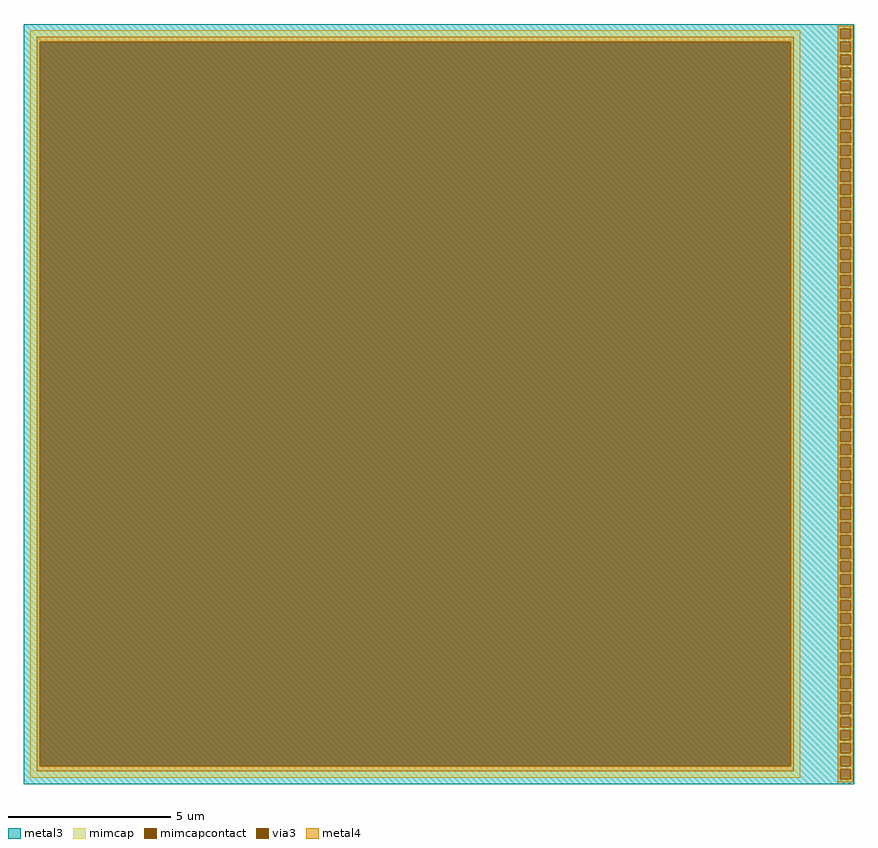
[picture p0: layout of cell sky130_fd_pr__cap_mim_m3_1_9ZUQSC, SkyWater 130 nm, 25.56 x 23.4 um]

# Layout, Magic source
magic
tech sky130A
magscale 1 2
<< metal3 >>
rect -2556 2312 2556 2340
rect -2556 2248 2472 2312
rect 2536 2248 2556 2312
rect -2556 2232 2556 2248
rect -2556 2168 2472 2232
rect 2536 2168 2556 2232
rect -2556 2152 2556 2168
rect -2556 2088 2472 2152
rect 2536 2088 2556 2152
rect -2556 2072 2556 2088
rect -2556 2008 2472 2072
rect 2536 2008 2556 2072
rect -2556 1992 2556 2008
rect -2556 1928 2472 1992
rect 2536 1928 2556 1992
rect -2556 1912 2556 1928
rect -2556 1848 2472 1912
rect 2536 1848 2556 1912
rect -2556 1832 2556 1848
rect -2556 1768 2472 1832
rect 2536 1768 2556 1832
rect -2556 1752 2556 1768
rect -2556 1688 2472 1752
rect 2536 1688 2556 1752
rect -2556 1672 2556 1688
rect -2556 1608 2472 1672
rect 2536 1608 2556 1672
rect -2556 1592 2556 1608
rect -2556 1528 2472 1592
rect 2536 1528 2556 1592
rect -2556 1512 2556 1528
rect -2556 1448 2472 1512
rect 2536 1448 2556 1512
rect -2556 1432 2556 1448
rect -2556 1368 2472 1432
rect 2536 1368 2556 1432
rect -2556 1352 2556 1368
rect -2556 1288 2472 1352
rect 2536 1288 2556 1352
rect -2556 1272 2556 1288
rect -2556 1208 2472 1272
rect 2536 1208 2556 1272
rect -2556 1192 2556 1208
rect -2556 1128 2472 1192
rect 2536 1128 2556 1192
rect -2556 1112 2556 1128
rect -2556 1048 2472 1112
rect 2536 1048 2556 1112
rect -2556 1032 2556 1048
rect -2556 968 2472 1032
rect 2536 968 2556 1032
rect -2556 952 2556 968
rect -2556 888 2472 952
rect 2536 888 2556 952
rect -2556 872 2556 888
rect -2556 808 2472 872
rect 2536 808 2556 872
rect -2556 792 2556 808
rect -2556 728 2472 792
rect 2536 728 2556 792
rect -2556 712 2556 728
rect -2556 648 2472 712
rect 2536 648 2556 712
rect -2556 632 2556 648
rect -2556 568 2472 632
rect 2536 568 2556 632
rect -2556 552 2556 568
rect -2556 488 2472 552
rect 2536 488 2556 552
rect -2556 472 2556 488
rect -2556 408 2472 472
rect 2536 408 2556 472
rect -2556 392 2556 408
rect -2556 328 2472 392
rect 2536 328 2556 392
rect -2556 312 2556 328
rect -2556 248 2472 312
rect 2536 248 2556 312
rect -2556 232 2556 248
rect -2556 168 2472 232
rect 2536 168 2556 232
rect -2556 152 2556 168
rect -2556 88 2472 152
rect 2536 88 2556 152
rect -2556 72 2556 88
rect -2556 8 2472 72
rect 2536 8 2556 72
rect -2556 -8 2556 8
rect -2556 -72 2472 -8
rect 2536 -72 2556 -8
rect -2556 -88 2556 -72
rect -2556 -152 2472 -88
rect 2536 -152 2556 -88
rect -2556 -168 2556 -152
rect -2556 -232 2472 -168
rect 2536 -232 2556 -168
rect -2556 -248 2556 -232
rect -2556 -312 2472 -248
rect 2536 -312 2556 -248
rect -2556 -328 2556 -312
rect -2556 -392 2472 -328
rect 2536 -392 2556 -328
rect -2556 -408 2556 -392
rect -2556 -472 2472 -408
rect 2536 -472 2556 -408
rect -2556 -488 2556 -472
rect -2556 -552 2472 -488
rect 2536 -552 2556 -488
rect -2556 -568 2556 -552
rect -2556 -632 2472 -568
rect 2536 -632 2556 -568
rect -2556 -648 2556 -632
rect -2556 -712 2472 -648
rect 2536 -712 2556 -648
rect -2556 -728 2556 -712
rect -2556 -792 2472 -728
rect 2536 -792 2556 -728
rect -2556 -808 2556 -792
rect -2556 -872 2472 -808
rect 2536 -872 2556 -808
rect -2556 -888 2556 -872
rect -2556 -952 2472 -888
rect 2536 -952 2556 -888
rect -2556 -968 2556 -952
rect -2556 -1032 2472 -968
rect 2536 -1032 2556 -968
rect -2556 -1048 2556 -1032
rect -2556 -1112 2472 -1048
rect 2536 -1112 2556 -1048
rect -2556 -1128 2556 -1112
rect -2556 -1192 2472 -1128
rect 2536 -1192 2556 -1128
rect -2556 -1208 2556 -1192
rect -2556 -1272 2472 -1208
rect 2536 -1272 2556 -1208
rect -2556 -1288 2556 -1272
rect -2556 -1352 2472 -1288
rect 2536 -1352 2556 -1288
rect -2556 -1368 2556 -1352
rect -2556 -1432 2472 -1368
rect 2536 -1432 2556 -1368
rect -2556 -1448 2556 -1432
rect -2556 -1512 2472 -1448
rect 2536 -1512 2556 -1448
rect -2556 -1528 2556 -1512
rect -2556 -1592 2472 -1528
rect 2536 -1592 2556 -1528
rect -2556 -1608 2556 -1592
rect -2556 -1672 2472 -1608
rect 2536 -1672 2556 -1608
rect -2556 -1688 2556 -1672
rect -2556 -1752 2472 -1688
rect 2536 -1752 2556 -1688
rect -2556 -1768 2556 -1752
rect -2556 -1832 2472 -1768
rect 2536 -1832 2556 -1768
rect -2556 -1848 2556 -1832
rect -2556 -1912 2472 -1848
rect 2536 -1912 2556 -1848
rect -2556 -1928 2556 -1912
rect -2556 -1992 2472 -1928
rect 2536 -1992 2556 -1928
rect -2556 -2008 2556 -1992
rect -2556 -2072 2472 -2008
rect 2536 -2072 2556 -2008
rect -2556 -2088 2556 -2072
rect -2556 -2152 2472 -2088
rect 2536 -2152 2556 -2088
rect -2556 -2168 2556 -2152
rect -2556 -2232 2472 -2168
rect 2536 -2232 2556 -2168
rect -2556 -2248 2556 -2232
rect -2556 -2312 2472 -2248
rect 2536 -2312 2556 -2248
rect -2556 -2340 2556 -2312
<< via3 >>
rect 2472 2248 2536 2312
rect 2472 2168 2536 2232
rect 2472 2088 2536 2152
rect 2472 2008 2536 2072
rect 2472 1928 2536 1992
rect 2472 1848 2536 1912
rect 2472 1768 2536 1832
rect 2472 1688 2536 1752
rect 2472 1608 2536 1672
rect 2472 1528 2536 1592
rect 2472 1448 2536 1512
rect 2472 1368 2536 1432
rect 2472 1288 2536 1352
rect 2472 1208 2536 1272
rect 2472 1128 2536 1192
rect 2472 1048 2536 1112
rect 2472 968 2536 1032
rect 2472 888 2536 952
rect 2472 808 2536 872
rect 2472 728 2536 792
rect 2472 648 2536 712
rect 2472 568 2536 632
rect 2472 488 2536 552
rect 2472 408 2536 472
rect 2472 328 2536 392
rect 2472 248 2536 312
rect 2472 168 2536 232
rect 2472 88 2536 152
rect 2472 8 2536 72
rect 2472 -72 2536 -8
rect 2472 -152 2536 -88
rect 2472 -232 2536 -168
rect 2472 -312 2536 -248
rect 2472 -392 2536 -328
rect 2472 -472 2536 -408
rect 2472 -552 2536 -488
rect 2472 -632 2536 -568
rect 2472 -712 2536 -648
rect 2472 -792 2536 -728
rect 2472 -872 2536 -808
rect 2472 -952 2536 -888
rect 2472 -1032 2536 -968
rect 2472 -1112 2536 -1048
rect 2472 -1192 2536 -1128
rect 2472 -1272 2536 -1208
rect 2472 -1352 2536 -1288
rect 2472 -1432 2536 -1368
rect 2472 -1512 2536 -1448
rect 2472 -1592 2536 -1528
rect 2472 -1672 2536 -1608
rect 2472 -1752 2536 -1688
rect 2472 -1832 2536 -1768
rect 2472 -1912 2536 -1848
rect 2472 -1992 2536 -1928
rect 2472 -2072 2536 -2008
rect 2472 -2152 2536 -2088
rect 2472 -2232 2536 -2168
rect 2472 -2312 2536 -2248
<< mimcap >>
rect -2516 2232 2224 2300
rect -2516 -2232 -2458 2232
rect 2166 -2232 2224 2232
rect -2516 -2300 2224 -2232
<< mimcapcontact >>
rect -2458 -2232 2166 2232
<< metal4 >>
rect 2456 2312 2552 2328
rect -2477 2232 2185 2261
rect -2477 -2232 -2458 2232
rect 2166 -2232 2185 2232
rect -2477 -2261 2185 -2232
rect 2456 2248 2472 2312
rect 2536 2248 2552 2312
rect 2456 2232 2552 2248
rect 2456 2168 2472 2232
rect 2536 2168 2552 2232
rect 2456 2152 2552 2168
rect 2456 2088 2472 2152
rect 2536 2088 2552 2152
rect 2456 2072 2552 2088
rect 2456 2008 2472 2072
rect 2536 2008 2552 2072
rect 2456 1992 2552 2008
rect 2456 1928 2472 1992
rect 2536 1928 2552 1992
rect 2456 1912 2552 1928
rect 2456 1848 2472 1912
rect 2536 1848 2552 1912
rect 2456 1832 2552 1848
rect 2456 1768 2472 1832
rect 2536 1768 2552 1832
rect 2456 1752 2552 1768
rect 2456 1688 2472 1752
rect 2536 1688 2552 1752
rect 2456 1672 2552 1688
rect 2456 1608 2472 1672
rect 2536 1608 2552 1672
rect 2456 1592 2552 1608
rect 2456 1528 2472 1592
rect 2536 1528 2552 1592
rect 2456 1512 2552 1528
rect 2456 1448 2472 1512
rect 2536 1448 2552 1512
rect 2456 1432 2552 1448
rect 2456 1368 2472 1432
rect 2536 1368 2552 1432
rect 2456 1352 2552 1368
rect 2456 1288 2472 1352
rect 2536 1288 2552 1352
rect 2456 1272 2552 1288
rect 2456 1208 2472 1272
rect 2536 1208 2552 1272
rect 2456 1192 2552 1208
rect 2456 1128 2472 1192
rect 2536 1128 2552 1192
rect 2456 1112 2552 1128
rect 2456 1048 2472 1112
rect 2536 1048 2552 1112
rect 2456 1032 2552 1048
rect 2456 968 2472 1032
rect 2536 968 2552 1032
rect 2456 952 2552 968
rect 2456 888 2472 952
rect 2536 888 2552 952
rect 2456 872 2552 888
rect 2456 808 2472 872
rect 2536 808 2552 872
rect 2456 792 2552 808
rect 2456 728 2472 792
rect 2536 728 2552 792
rect 2456 712 2552 728
rect 2456 648 2472 712
rect 2536 648 2552 712
rect 2456 632 2552 648
rect 2456 568 2472 632
rect 2536 568 2552 632
rect 2456 552 2552 568
rect 2456 488 2472 552
rect 2536 488 2552 552
rect 2456 472 2552 488
rect 2456 408 2472 472
rect 2536 408 2552 472
rect 2456 392 2552 408
rect 2456 328 2472 392
rect 2536 328 2552 392
rect 2456 312 2552 328
rect 2456 248 2472 312
rect 2536 248 2552 312
rect 2456 232 2552 248
rect 2456 168 2472 232
rect 2536 168 2552 232
rect 2456 152 2552 168
rect 2456 88 2472 152
rect 2536 88 2552 152
rect 2456 72 2552 88
rect 2456 8 2472 72
rect 2536 8 2552 72
rect 2456 -8 2552 8
rect 2456 -72 2472 -8
rect 2536 -72 2552 -8
rect 2456 -88 2552 -72
rect 2456 -152 2472 -88
rect 2536 -152 2552 -88
rect 2456 -168 2552 -152
rect 2456 -232 2472 -168
rect 2536 -232 2552 -168
rect 2456 -248 2552 -232
rect 2456 -312 2472 -248
rect 2536 -312 2552 -248
rect 2456 -328 2552 -312
rect 2456 -392 2472 -328
rect 2536 -392 2552 -328
rect 2456 -408 2552 -392
rect 2456 -472 2472 -408
rect 2536 -472 2552 -408
rect 2456 -488 2552 -472
rect 2456 -552 2472 -488
rect 2536 -552 2552 -488
rect 2456 -568 2552 -552
rect 2456 -632 2472 -568
rect 2536 -632 2552 -568
rect 2456 -648 2552 -632
rect 2456 -712 2472 -648
rect 2536 -712 2552 -648
rect 2456 -728 2552 -712
rect 2456 -792 2472 -728
rect 2536 -792 2552 -728
rect 2456 -808 2552 -792
rect 2456 -872 2472 -808
rect 2536 -872 2552 -808
rect 2456 -888 2552 -872
rect 2456 -952 2472 -888
rect 2536 -952 2552 -888
rect 2456 -968 2552 -952
rect 2456 -1032 2472 -968
rect 2536 -1032 2552 -968
rect 2456 -1048 2552 -1032
rect 2456 -1112 2472 -1048
rect 2536 -1112 2552 -1048
rect 2456 -1128 2552 -1112
rect 2456 -1192 2472 -1128
rect 2536 -1192 2552 -1128
rect 2456 -1208 2552 -1192
rect 2456 -1272 2472 -1208
rect 2536 -1272 2552 -1208
rect 2456 -1288 2552 -1272
rect 2456 -1352 2472 -1288
rect 2536 -1352 2552 -1288
rect 2456 -1368 2552 -1352
rect 2456 -1432 2472 -1368
rect 2536 -1432 2552 -1368
rect 2456 -1448 2552 -1432
rect 2456 -1512 2472 -1448
rect 2536 -1512 2552 -1448
rect 2456 -1528 2552 -1512
rect 2456 -1592 2472 -1528
rect 2536 -1592 2552 -1528
rect 2456 -1608 2552 -1592
rect 2456 -1672 2472 -1608
rect 2536 -1672 2552 -1608
rect 2456 -1688 2552 -1672
rect 2456 -1752 2472 -1688
rect 2536 -1752 2552 -1688
rect 2456 -1768 2552 -1752
rect 2456 -1832 2472 -1768
rect 2536 -1832 2552 -1768
rect 2456 -1848 2552 -1832
rect 2456 -1912 2472 -1848
rect 2536 -1912 2552 -1848
rect 2456 -1928 2552 -1912
rect 2456 -1992 2472 -1928
rect 2536 -1992 2552 -1928
rect 2456 -2008 2552 -1992
rect 2456 -2072 2472 -2008
rect 2536 -2072 2552 -2008
rect 2456 -2088 2552 -2072
rect 2456 -2152 2472 -2088
rect 2536 -2152 2552 -2088
rect 2456 -2168 2552 -2152
rect 2456 -2232 2472 -2168
rect 2536 -2232 2552 -2168
rect 2456 -2248 2552 -2232
rect 2456 -2312 2472 -2248
rect 2536 -2312 2552 -2248
rect 2456 -2328 2552 -2312
<< properties >>
string FIXED_BBOX -2556 -2340 2264 2340
<< end >>
